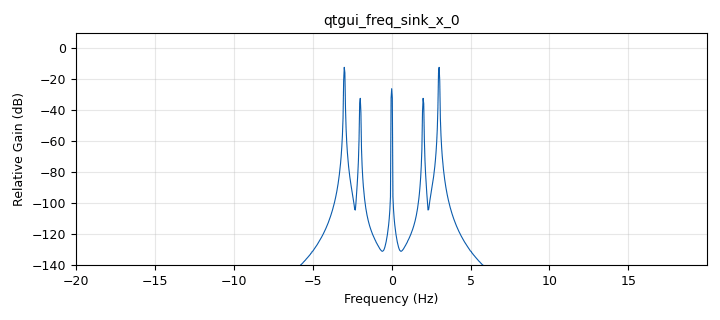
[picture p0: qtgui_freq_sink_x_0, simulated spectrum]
options:
  parameters:
    generate_options: qt_gui
    id: IFA
    output_language: python
    title: IF
  states: {}

blocks:
- name: A_h
  id: variable
  parameters:
    comment: Heart Amplitude
    value: '1e-1'
  states: {}
- name: A_r
  id: variable
  parameters:
    comment: Respiration Amplitude
    value: '1'
  states: {}
- name: IF
  id: variable
  parameters:
    value: samp_rate/100
  states: {}
- name: M
  id: variable
  parameters:
    value: '100'
  states: {}
- name: f_h
  id: variable
  parameters:
    comment: Heart Frequency
    value: '2 #80/60'
  states: {}
- name: f_r
  id: variable
  parameters:
    comment: Heart Frequency
    value: '3 #14/60'
  states: {}
- name: fft_size
  id: variable
  parameters:
    comment: |-
      Techo de la
      potencia más
      cercana
      o Límite
    value: max( min( int(2**np.ceil(np.log2(time*samp_rate/M))) , 2**15) , 2**10)
  states: {}
- name: frequency
  id: variable_qtgui_range
  parameters:
    start: '-samp_rate/2'
    step: '1'
    stop: samp_rate/2
    value: '0'
  states: {state: disabled}
- name: samp_rate
  id: variable
  parameters:
    comment: 'Max: 61.44 MS/s'
    value: 4e3
  states: {}
- name: time
  id: variable
  parameters:
    comment: Seconds
    value: '1'
  states: {}
- name: analog_sig_source_x_0
  id: analog_sig_source_x
  parameters:
    amp: A_r
    freq: f_r
    offset: '0'
    phase: '0'
    samp_rate: samp_rate
    type: complex
    waveform: analog.GR_SIN_WAVE
  states: {}
- name: analog_sig_source_x_0_0
  id: analog_sig_source_x
  parameters:
    amp: A_h
    freq: f_h
    offset: '0'
    phase: '0'
    samp_rate: samp_rate
    type: complex
    waveform: analog.GR_SIN_WAVE
  states: {}
- name: analog_sig_source_x_0_0_0
  id: analog_sig_source_x
  parameters:
    amp: '1'
    freq: IF
    offset: '0'
    phase: '0'
    samp_rate: samp_rate
    type: complex
    waveform: analog.GR_SIN_WAVE
  states: {state: disabled}
- name: analog_sig_source_x_0_0_1
  id: analog_sig_source_x
  parameters:
    amp: A_h
    freq: f_h
    offset: '0'
    phase: '0'
    samp_rate: samp_rate
    type: complex
    waveform: analog.GR_CONST_WAVE
  states: {}
- name: blocks_add_xx_0
  id: blocks_add_xx
  parameters:
    num_inputs: '3'
    type: complex
  states: {}
- name: blocks_complex_to_real_0
  id: blocks_complex_to_real
  parameters: {}
  states: {}
- name: blocks_multiply_xx_0
  id: blocks_multiply_xx
  parameters:
    type: complex
  states: {state: disabled}
- name: blocks_stream_to_vector_0
  id: blocks_stream_to_vector
  parameters:
    num_items: fft_size
    type: float
  states: {state: disabled}
- name: blocks_throttle2_0
  id: blocks_throttle2
  parameters:
    samples_per_second: samp_rate
    type: float
  states: {}
- name: blocks_vector_to_stream_0
  id: blocks_vector_to_stream
  parameters:
    num_items: fft_size
    type: float
  states: {state: disabled}
- name: epy_block_0
  id: epy_block
  parameters:
    _source_code: |
      """
      Embedded Python Blocks:

      Each time this file is saved, GRC will instantiate the first class it finds
      to get ports and parameters of your block. The arguments to __init__  will
      be the parameters. All of them are required to have default values!
      """

      import numpy as np
      from gnuradio import gr


      class blk(gr.sync_block):  # other base classes are basic_block, decim_block, interp_block
          """Embedded Python Block example - a simple multiply const"""

          def __init__(self, vectorSize=2**10):  # only default arguments here
              """arguments to this function show up as parameters in GRC"""
              gr.sync_block.__init__(
                  self,
                  name='Mean Block',   # will show up in GRC
                  in_sig=[(np.float32, vectorSize)],
                  out_sig=[(np.float32, vectorSize)]
              )
              # if an attribute with the same name as a parameter is found,
              # a callback is registered (properties work, too).

          def work(self, input_items, output_items):
              output_items[0][:] = input_items[0][:] - np.mean(input_items[0][:])
              return len(output_items[0])
    vectorSize: fft_size
  states: {state: disabled}
- name: import_0
  id: import
  parameters:
    imports: import numpy as np
  states: {}
- name: low_pass_filter_0
  id: low_pass_filter
  parameters:
    cutoff_freq: samp_rate/4
    decim: '1'
    gain: '1'
    samp_rate: samp_rate
    type: fir_filter_ccf
    width: samp_rate/8
    win: window.WIN_HAMMING
  states: {state: disabled}
- name: qtgui_freq_sink_x_0
  id: qtgui_freq_sink_x
  parameters:
    bw: samp_rate/M
    fc: '0'
    fftsize: fft_size
    grid: 'True'
    type: float
    wintype: window.WIN_HANN
  states: {}
- name: rational_resampler_xxx_0
  id: rational_resampler_xxx
  parameters:
    decim: M
    fbw: '0.4'
    interp: '1'
    type: ccc
  states: {}

connections:
- [analog_sig_source_x_0, '0', blocks_add_xx_0, '0']
- [analog_sig_source_x_0_0, '0', blocks_add_xx_0, '1']
- [analog_sig_source_x_0_0_0, '0', blocks_multiply_xx_0, '1']
- [analog_sig_source_x_0_0_1, '0', blocks_add_xx_0, '2']
- [blocks_add_xx_0, '0', rational_resampler_xxx_0, '0']
- [blocks_complex_to_real_0, '0', blocks_throttle2_0, '0']
- [blocks_stream_to_vector_0, '0', epy_block_0, '0']
- [blocks_throttle2_0, '0', qtgui_freq_sink_x_0, '0']
- [epy_block_0, '0', blocks_vector_to_stream_0, '0']
- [rational_resampler_xxx_0, '0', blocks_complex_to_real_0, '0']

metadata:
  file_format: 1
  grc_version: 3.10.8.0
